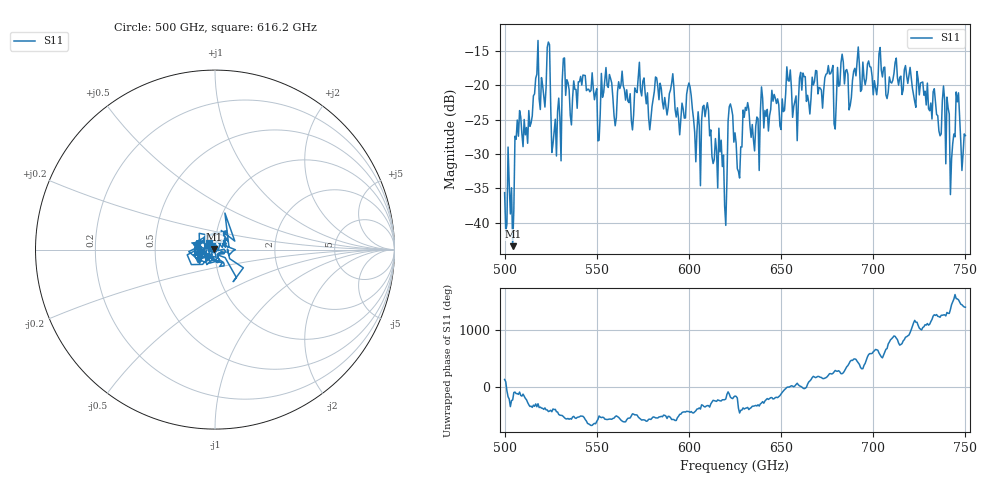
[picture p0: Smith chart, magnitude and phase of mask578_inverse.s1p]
!Created with skrf (http://scikit-rf.org).
# GHz S MA R 50.0
!freq magS11 angS11
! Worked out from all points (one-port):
!   401 points, 500 GHz to 750 GHz, reference 50 ohm
!   lowest |S11| = -43.4 dB at 504.4 GHz (marker M1), VSWR 1.01, Z = 49.5 + j0.422 ohm
!   |S11| at or under -10 dB: start of sweep to end of sweep
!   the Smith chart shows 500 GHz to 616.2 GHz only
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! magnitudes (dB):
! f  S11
! 500 GHz  -35.6
! 504.4 GHz  -43.4
! 506.9 GHz  -25.1
! 513.8 GHz  -26.0
! 516.9 GHz  -19.0
! 523.8 GHz  -13.8
! 526.9 GHz  -26.7
! 531.2 GHz  -19.4
! 542.5 GHz  -18.5
! 550.6 GHz  -28.1
! 562.5 GHz  -20.5
! 579.4 GHz  -24.9
! 590.6 GHz  -19.7
! 593.8 GHz  -23.3
! 600 GHz  -19.7
! 605 GHz  -23.9
! 609.4 GHz  -23.4
! 619.4 GHz  -37.5
! 622.5 GHz  -22.7
! 625 GHz  -26.9
! 656.2 GHz  -24.7
! 687.5 GHz  -23.0
! 691.2 GHz  -16.6
! 718.8 GHz  -19.8
! 739.4 GHz  -31.4
! 743.1 GHz  -28.5
! 745.6 GHz  -22.4
! 750 GHz  -27.3
